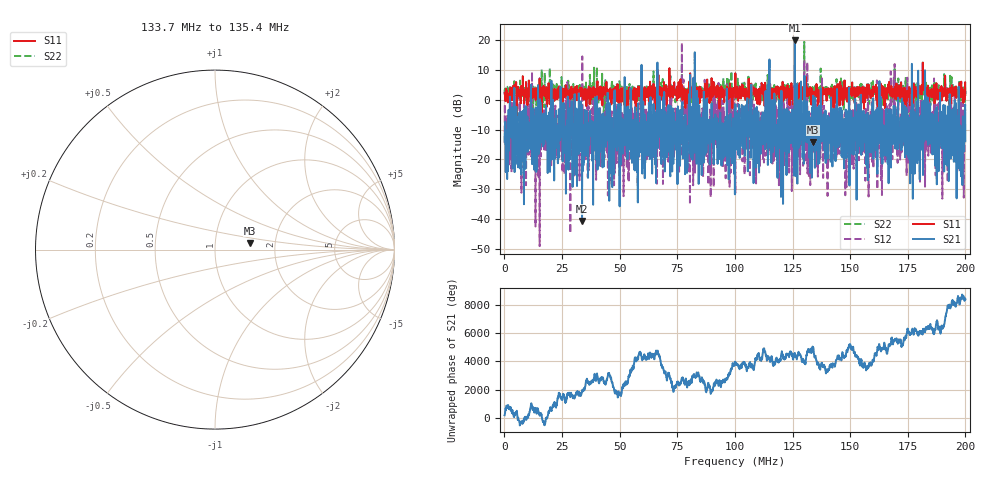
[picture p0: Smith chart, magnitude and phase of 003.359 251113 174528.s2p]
# HZ S DB R 50
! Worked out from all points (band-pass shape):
!   2000 points, 50 kHz to 200 MHz, reference 50 ohm
!   highest |S21| = 19.93 dB at 126 MHz (marker M1); lowest = -40.7 dB at 33.66 MHz (marker M2)
!   |S21| within 3 dB of the highest: 125.9673 MHz to 125.99 MHz (22.78 kHz wide, 0.0181 % of centre)
!   lowest |S11| = -14.1 dB at 134 MHz (marker M3), VSWR 1.49, Z = 73.6 + j5.78 ohm
!   |S11| at or under -10 dB: 53.24126 MHz to 53.28501 MHz (43.75 kHz wide, 0.0821 % of centre); 133.9587 MHz to 134.0101 MHz (51.41 kHz wide, 0.0384 % of centre)
!   |S22| runs from -7.6 to 19.5 dB; largest |S21 - S12| = 9.9
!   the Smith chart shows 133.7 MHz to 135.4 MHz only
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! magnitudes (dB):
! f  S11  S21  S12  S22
! 50 kHz  2.2  -11.5  -14.5  2.1
! 3.251 MHz  1.3  -4.0  -1.0  0.7
! 5.351 MHz  -6.2  -5.7  -17.9  2.6
! 15.45 MHz  0.5  -15.2  -6.9  1.2
! 32.56 MHz  3.0  -9.9  -27.0  2.6
! 33.46 MHz  1.5  -15.8  -5.8  1.2
! 33.66 MHz  3.8  -40.7  -20.8  1.6
! 52.06 MHz  -1.7  -13.9  -10.4  2.2
! 66.77 MHz  8.4  -12.6  -14.4  1.6
! 100.1 MHz  3.4  -15.2  -14.3  0.4
! 126 MHz  2.1  19.9  -9.6  -0.1
! 133.4 MHz  0.7  -26.2  -9.8  1.0
! 134 MHz  -14.1  1.4  -15.5  2.9
! 154.9 MHz  2.4  -9.3  -12.4  2.4
! 157.4 MHz  0.6  -22.3  -10.7  2.3
! 162.8 MHz  3.3  -4.5  -7.8  1.5
! 166.7 MHz  3.0  -28.0  -8.2  2.7
! 173.5 MHz  0.7  -6.4  -14.0  1.9
! 176.6 MHz  2.0  -9.7  -24.1  1.7
! 182.8 MHz  2.8  -3.9  -1.0  5.8
! 187.4 MHz  5.6  -5.7  -9.3  2.5
! 200 MHz  1.6  -13.9  -3.2  1.9
